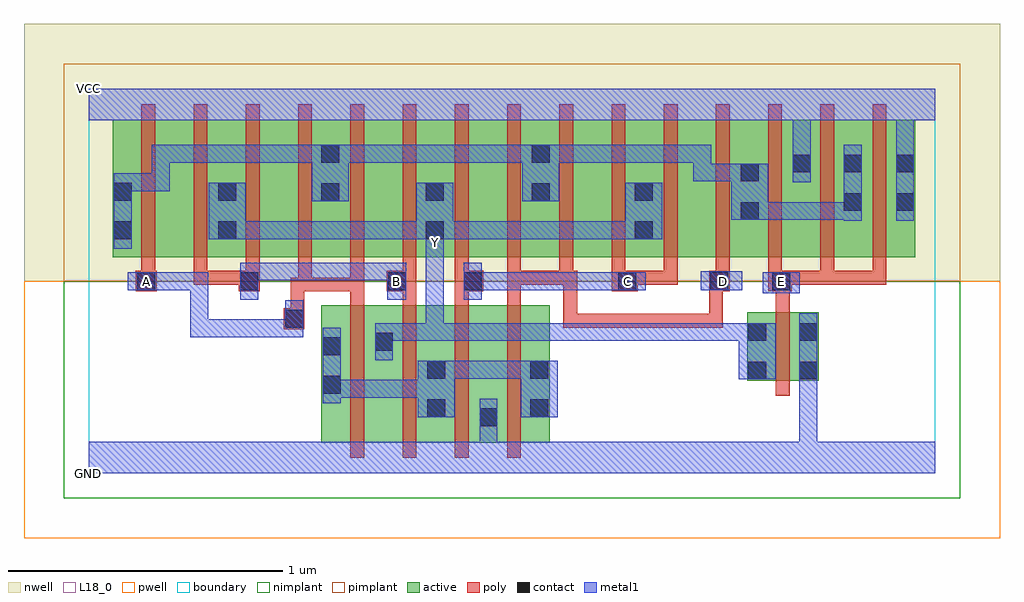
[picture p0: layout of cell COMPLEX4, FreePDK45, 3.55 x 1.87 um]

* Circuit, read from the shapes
.subckt COMPLEX4 A B C D E GND VCC Y
M1 Y A n1 VSUBS nfet w=0.5u l=0.05u
M2 n1 B Y VSUBS nfet w=0.5u l=0.05u
M3 GND C n1 VSUBS nfet w=0.5u l=0.05u
M4 n1 D GND VSUBS nfet w=0.5u l=0.05u
M5 GND E Y VSUBS nfet w=0.25u l=0.05u
M6 n2 A n3 n4 pfet w=0.5u l=0.05u
M7 Y B n2 n4 pfet w=0.5u l=0.05u
M8 n5 B Y n4 pfet w=0.5u l=0.05u
M9 n3 A n5 n4 pfet w=0.5u l=0.05u
M10 n6 A n3 n4 pfet w=0.5u l=0.05u
M11 Y B n6 n4 pfet w=0.5u l=0.05u
M12 n7 C Y n4 pfet w=0.5u l=0.05u
M13 n3 D n7 n4 pfet w=0.5u l=0.05u
M14 n8 D n3 n4 pfet w=0.5u l=0.05u
M15 Y C n8 n4 pfet w=0.5u l=0.05u
M16 n9 C Y n4 pfet w=0.5u l=0.05u
M17 n3 D n9 n4 pfet w=0.5u l=0.05u
M18 VCC E n3 n4 pfet w=0.5u l=0.05u m=3
.ends

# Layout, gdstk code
import gdstk
lib = gdstk.Library(unit=1e-6, precision=1e-09)
def R(c, l, rs):  # rectangles x0, y0, x1, y1
    for r in rs: c.add(gdstk.rectangle(r[:2], r[2:], *l))
def A(c, l, x, y, w, h, nx, ny, dx, dy):  # array of equal rectangles
    R(c, l, [(x+i*dx, y+j*dy, x+i*dx+w, y+j*dy+h) for i in range(nx) for j in range(ny)])
active = (1, 0)
pwell = (2, 0)
nwell = (3, 0)
nimplant = (4, 0)
pimplant = (5, 0)
poly = (9, 0)
contact = (10, 0)
metal1 = (11, 0)
L18_0 = (18, 0)
boundary = (235, 0)

complex4 = lib.new_cell('COMPLEX4')
A(complex4, active, 0.847, 0.112, 0.265, 0.5, 3, 1, 0.19, 0)
R(complex4, active, [(1.417,0.112,1.677,0.612), (0.847,0.145,0.922,0.612), (1.037,0.145,1.112,0.592), (1.227,0.145,1.302,0.592), (1.417,0.145,1.492,0.55), (1.602,0.145,1.677,0.612), (2.395,0.337,2.47,0.587), (2.395,0.337,2.655,0.587), (2.58,0.337,2.655,0.587), (0.087,0.787,0.312,1.287), (0.087,0.787,0.192,1.2), (0.312,0.787,0.542,1.287), (0.467,0.787,0.692,1.287), (0.692,0.787,0.917,1.287), (0.842,0.787,1.072,1.287), (1.072,0.787,1.297,1.287), (1.222,0.787,1.452,1.287), (1.452,0.787,1.682,1.287), (1.607,0.787,1.832,1.287), (1.832,0.787,2.057,1.287), (1.982,0.787,2.212,1.287), (2.212,0.787,2.442,1.287), (2.367,0.787,2.632,1.287), (2.557,0.787,2.817,1.287), (2.742,0.787,3.007,1.287), (2.932,0.787,3.007,1.255), (0.467,0.807,0.542,1.07), (0.842,0.807,0.917,1.2), (1.222,0.807,1.297,1.07), (1.607,0.807,1.682,1.2), (1.982,0.807,2.057,1.07), (2.367,0.807,2.442,1.2), (2.557,0.807,2.632,1.255), (2.742,0.807,2.817,1.2)])
R(complex4, pwell, [(-0.235,-0.235,3.315,0.7)])
R(complex4, nwell, [(-0.235,0.7,3.315,1.635)])
R(complex4, nimplant, [(-0.09,-0.09,3.17,0.7)])
R(complex4, pimplant, [(-0.09,0.7,3.17,1.49)])
A(complex4, poly, 0.952, 0.057, 0.05, 0.61, 4, 1, 0.19, 0)
A(complex4, poly, 0.952, 0.617, 0.05, 0.095, 3, 1, 0.19, 0)
A(complex4, poly, 0.192, 0.687, 0.05, 0.095, 3, 1, 0.19, 0)
A(complex4, poly, 1.142, 0.687, 0.05, 0.095, 10, 1, 0.19, 0)
A(complex4, poly, 0.192, 0.732, 0.05, 0.61, 15, 1, 0.19, 0)
R(complex4, poly, [(2.5,0.282,2.55,0.642), (0.71,0.525,0.785,0.6), (1.727,0.53,1.777,0.58), (1.727,0.53,1.777,0.58), (1.727,0.53,1.777,0.58), (1.727,0.53,1.777,0.58), (1.727,0.53,1.777,0.58), (1.727,0.53,2.01,0.58), (1.727,0.53,1.777,0.737), (1.96,0.53,2.01,0.58), (1.96,0.53,2.01,0.58), (1.96,0.53,2.01,0.58), (1.96,0.53,2.175,0.58), (2.125,0.53,2.175,0.58), (2.125,0.53,2.307,0.58), (2.257,0.53,2.307,0.58), (2.257,0.53,2.307,0.58), (2.257,0.53,2.307,0.58), (2.257,0.53,2.307,0.58), (2.257,0.53,2.307,0.58), (2.257,0.53,2.307,0.712), (0.735,0.55,0.785,0.712), (2.5,0.592,2.55,0.712), (1.522,0.617,1.572,0.737), (0.172,0.662,0.247,0.737), (0.547,0.662,0.622,0.737), (0.735,0.662,0.797,0.712), (0.747,0.662,0.797,0.712), (0.747,0.662,0.812,0.712), (0.762,0.662,1.002,0.712), (0.762,0.662,0.812,0.782), (0.952,0.662,1.002,0.712), (0.952,0.662,1.002,0.712), (0.952,0.662,1.002,0.712), (0.952,0.662,1.002,0.782), (1.085,0.662,1.192,0.737), (1.332,0.662,1.435,0.737), (1.902,0.662,1.997,0.737), (2.257,0.662,2.332,0.737), (2.472,0.662,2.557,0.737), (0.382,0.687,0.432,0.737), (0.382,0.687,0.597,0.737), (0.547,0.687,0.597,0.737), (0.547,0.687,0.597,0.737), (1.522,0.687,1.572,0.737), (1.522,0.687,1.572,0.737), (1.522,0.687,1.572,0.737), (1.522,0.687,1.762,0.737), (1.712,0.687,1.777,0.737), (1.947,0.687,1.997,0.737), (1.947,0.687,1.997,0.737), (1.947,0.687,2.142,0.737), (2.092,0.687,2.142,0.737), (2.507,0.687,2.557,0.737), (2.507,0.687,2.557,0.737), (2.507,0.687,2.712,0.737), (2.662,0.687,2.712,0.737), (2.662,0.687,2.902,0.737), (2.852,0.687,2.902,0.737), (2.852,0.687,2.902,0.737), (2.852,0.687,2.902,0.737)])
R(complex4, contact, [(1.422,0.172,1.487,0.237), (1.232,0.205,1.297,0.27), (1.607,0.205,1.672,0.27), (0.852,0.29,0.917,0.355), (2.4,0.342,2.465,0.407), (2.585,0.342,2.65,0.407), (1.232,0.345,1.297,0.41), (1.607,0.345,1.672,0.41), (0.852,0.43,0.917,0.495), (1.042,0.447,1.107,0.512), (2.4,0.482,2.465,0.547), (2.585,0.482,2.65,0.547), (0.715,0.53,0.78,0.595), (0.177,0.667,0.242,0.732), (0.552,0.667,0.617,0.732), (1.09,0.667,1.155,0.732), (1.365,0.667,1.43,0.732), (1.927,0.667,1.992,0.732), (2.262,0.667,2.327,0.732), (2.487,0.667,2.552,0.732), (0.092,0.852,0.157,0.917), (0.472,0.852,0.537,0.917), (1.227,0.852,1.292,0.917), (1.987,0.852,2.052,0.917), (2.372,0.922,2.437,0.987), (2.747,0.955,2.812,1.02), (2.937,0.955,3.002,1.02), (0.847,0.99,0.912,1.055), (1.612,0.99,1.677,1.055), (0.092,0.992,0.157,1.057), (0.472,0.992,0.537,1.057), (1.227,0.992,1.292,1.057), (1.987,0.992,2.052,1.057), (2.372,1.062,2.437,1.127), (2.562,1.095,2.627,1.16), (2.747,1.095,2.812,1.16), (2.937,1.095,3.002,1.16), (0.847,1.13,0.912,1.195), (1.612,1.13,1.677,1.195)])
A(complex4, metal1, 1.422, 0.482, 0.065, 0.065, 1, 3, 0, 0.185)
A(complex4, metal1, 1.715, 0.482, 0.065, 0.065, 1, 3, 0, 0.185)
R(complex4, metal1, [(0,0,3.08,0.115), (1.422,0.05,1.487,0.202), (2.585,0.05,2.65,0.115), (2.585,0.05,2.65,0.115), (2.585,0.05,2.65,0.372), (1.422,0.137,1.487,0.202), (1.422,0.137,1.487,0.202), (1.422,0.137,1.487,0.272), (1.197,0.205,1.332,0.41), (1.572,0.205,1.707,0.41), (0.852,0.255,0.917,0.53), (0.852,0.275,0.917,0.34), (0.852,0.275,0.917,0.34), (0.852,0.275,1.12,0.34), (1.055,0.275,1.12,0.34), (1.055,0.275,1.262,0.34), (1.197,0.275,1.262,0.34), (1.197,0.275,1.262,0.34), (2.585,0.307,2.65,0.582), (2.585,0.307,2.65,0.372), (2.585,0.307,2.65,0.372), (2.585,0.307,2.65,0.372), (2.585,0.307,2.65,0.372), (2.365,0.342,2.5,0.547), (1.267,0.345,1.487,0.41), (1.422,0.345,1.487,0.41), (1.422,0.345,1.487,0.41), (1.422,0.345,1.487,0.41), (1.422,0.345,1.637,0.41), (1.572,0.345,1.637,0.41), (1.572,0.345,1.637,0.41), (1.042,0.412,1.107,0.547), (1.042,0.482,1.292,0.547), (1.227,0.482,1.292,0.547), (1.227,0.482,1.292,0.547), (1.227,0.482,1.292,0.547), (1.227,0.482,1.487,0.547), (1.227,0.482,1.292,0.837), (1.422,0.482,1.487,0.547), (1.422,0.482,1.487,0.547), (1.422,0.482,1.625,0.547), (1.56,0.482,1.625,0.547), (1.56,0.482,1.625,0.547), (1.56,0.482,1.625,0.547), (1.56,0.482,1.78,0.547), (1.715,0.482,1.88,0.547), (1.815,0.482,1.88,0.547), (1.815,0.482,1.957,0.547), (1.892,0.482,1.957,0.547), (1.892,0.482,2.127,0.547), (2.062,0.482,2.127,0.547), (2.062,0.482,2.127,0.547), (2.062,0.482,2.127,0.547), (2.062,0.482,2.265,0.547), (2.2,0.482,2.265,0.547), (2.2,0.482,2.265,0.547), (2.2,0.482,2.265,0.547), (2.2,0.482,2.43,0.547), (0.37,0.495,0.435,0.56), (0.37,0.495,0.602,0.56), (0.37,0.495,0.435,0.732), (0.537,0.495,0.602,0.56), (0.537,0.495,0.74,0.56), (0.675,0.495,0.74,0.56), (0.675,0.495,0.74,0.56), (0.675,0.495,0.74,0.56), (0.675,0.495,0.78,0.56), (0.715,0.495,0.78,0.63), (0.552,0.632,0.617,0.767), (1.087,0.632,1.155,0.767), (1.365,0.632,1.43,0.767), (2.452,0.655,2.587,0.732), (0.142,0.667,0.277,0.732), (0.212,0.667,0.295,0.732), (0.23,0.667,0.295,0.732), (0.23,0.667,0.435,0.732), (0.37,0.667,0.435,0.732), (0.37,0.667,0.435,0.732), (0.37,0.667,0.435,0.732), (1.365,0.667,1.487,0.732), (1.422,0.667,1.642,0.732), (1.577,0.667,1.642,0.732), (1.577,0.667,1.642,0.732), (1.577,0.667,1.642,0.732), (1.577,0.667,1.78,0.732), (1.715,0.667,1.85,0.732), (1.785,0.667,1.85,0.732), (1.785,0.667,1.957,0.732), (1.892,0.667,2.027,0.732), (2.227,0.667,2.377,0.735), (0.552,0.702,0.74,0.767), (0.675,0.702,0.74,0.767), (0.675,0.702,0.755,0.767), (0.69,0.702,0.755,0.767), (0.69,0.702,0.917,0.767), (0.852,0.702,0.917,0.767), (0.852,0.702,0.917,0.767), (0.852,0.702,0.917,0.767), (0.852,0.702,1.107,0.767), (1.042,0.702,1.107,0.767), (1.042,0.702,1.152,0.767), (1.227,0.772,1.292,0.907), (0.092,0.817,0.157,1.092), (1.227,0.842,1.292,0.917), (0.437,0.852,0.572,1.057), (0.507,0.852,0.572,0.917), (0.507,0.852,0.572,0.917), (0.507,0.852,0.74,0.917), (0.675,0.852,0.74,0.917), (0.675,0.852,0.777,0.917), (0.712,0.852,0.777,0.917), (0.712,0.852,0.97,0.917), (0.905,0.852,0.97,0.917), (0.905,0.852,0.97,0.917), (0.905,0.852,0.97,0.917), (0.905,0.852,1.12,0.917), (1.055,0.852,1.12,0.917), (1.055,0.852,1.257,0.917), (1.192,0.852,1.257,0.917), (1.192,0.852,1.257,0.917), (1.192,0.852,1.327,1.057), (1.262,0.852,1.487,0.917), (1.422,0.852,1.487,0.917), (1.422,0.852,1.487,0.917), (1.422,0.852,1.642,0.917), (1.577,0.852,1.642,0.917), (1.577,0.852,1.642,0.917), (1.577,0.852,1.642,0.917), (1.577,0.852,1.78,0.917), (1.715,0.852,1.85,0.917), (1.785,0.852,1.85,0.917), (1.785,0.852,1.957,0.917), (1.892,0.852,1.957,0.917), (1.892,0.852,2.017,0.917), (1.952,0.852,2.087,1.057), (2.747,0.92,2.812,1.195), (2.937,0.92,3.002,1.195), (2.337,0.922,2.472,1.127), (2.407,0.922,2.472,0.987), (2.407,0.922,2.472,0.987), (2.407,0.922,2.675,0.987), (2.61,0.922,2.675,0.987), (2.61,0.922,2.812,0.987), (2.747,0.922,2.812,0.987), (2.747,0.922,2.812,0.987), (0.812,0.99,0.947,1.195), (1.577,0.99,1.712,1.195), (0.092,1.027,0.157,1.092), (0.092,1.027,0.157,1.092), (0.092,1.027,0.295,1.092), (0.23,1.027,0.295,1.092), (0.23,1.027,0.295,1.195), (2.562,1.06,2.627,1.195), (2.2,1.062,2.265,1.127), (2.2,1.062,2.265,1.127), (2.2,1.062,2.265,1.127), (2.2,1.062,2.402,1.127), (2.2,1.062,2.265,1.195), (0.23,1.13,0.295,1.195), (0.23,1.13,0.432,1.195), (0.367,1.13,0.432,1.195), (0.367,1.13,0.432,1.195), (0.367,1.13,0.432,1.195), (0.367,1.13,0.602,1.195), (0.537,1.13,0.602,1.195), (0.537,1.13,0.71,1.195), (0.645,1.13,0.71,1.195), (0.645,1.13,0.78,1.195), (0.715,1.13,0.78,1.195), (0.715,1.13,0.877,1.195), (0.882,1.13,0.947,1.195), (0.882,1.13,0.947,1.195), (0.882,1.13,1.12,1.195), (1.055,1.13,1.12,1.195), (1.055,1.13,1.12,1.195), (1.055,1.13,1.12,1.195), (1.055,1.13,1.35,1.195), (1.285,1.13,1.35,1.195), (1.285,1.13,1.487,1.195), (1.422,1.13,1.487,1.195), (1.422,1.13,1.487,1.195), (1.422,1.13,1.487,1.195), (1.422,1.13,1.642,1.195), (1.577,1.13,1.642,1.195), (1.577,1.13,1.642,1.195), (1.647,1.13,1.82,1.195), (1.755,1.13,1.82,1.195), (1.755,1.13,1.88,1.195), (1.815,1.13,1.88,1.195), (1.815,1.13,1.957,1.195), (1.892,1.13,1.957,1.195), (1.892,1.13,2.127,1.195), (2.062,1.13,2.127,1.195), (2.062,1.13,2.127,1.195), (2.062,1.13,2.127,1.195), (2.062,1.13,2.265,1.195), (2.2,1.13,2.265,1.195), (2.562,1.13,2.627,1.35), (2.937,1.13,3.002,1.35), (0,1.285,3.08,1.4)])
A(complex4, L18_0, 1.422, 0.482, 0.065, 0.065, 1, 3, 0, 0.185)
A(complex4, L18_0, 1.715, 0.482, 0.065, 0.065, 1, 3, 0, 0.185)
R(complex4, L18_0, [(0,0,3.08,0.115), (1.422,0.05,1.487,0.202), (2.585,0.05,2.65,0.115), (2.585,0.05,2.65,0.115), (2.585,0.05,2.65,0.372), (1.422,0.137,1.487,0.202), (1.422,0.137,1.487,0.202), (1.422,0.137,1.487,0.272), (2.585,0.307,2.65,0.372), (2.585,0.307,2.65,0.372), (2.585,0.307,2.65,0.372), (2.585,0.307,2.65,0.372), (2.585,0.307,2.65,0.582), (2.365,0.342,2.5,0.547), (1.042,0.412,1.107,0.547), (1.042,0.482,1.292,0.547), (1.227,0.482,1.292,0.547), (1.227,0.482,1.292,0.547), (1.227,0.482,1.292,0.547), (1.227,0.482,1.292,0.837), (1.227,0.482,1.487,0.547), (1.422,0.482,1.487,0.547), (1.422,0.482,1.487,0.547), (1.422,0.482,1.625,0.547), (1.56,0.482,1.625,0.547), (1.56,0.482,1.625,0.547), (1.56,0.482,1.625,0.547), (1.56,0.482,1.78,0.547), (1.715,0.482,1.88,0.547), (1.815,0.482,1.88,0.547), (1.815,0.482,1.957,0.547), (1.892,0.482,1.957,0.547), (1.892,0.482,2.127,0.547), (2.062,0.482,2.127,0.547), (2.062,0.482,2.127,0.547), (2.062,0.482,2.127,0.547), (2.062,0.482,2.265,0.547), (2.2,0.482,2.265,0.547), (2.2,0.482,2.265,0.547), (2.2,0.482,2.265,0.547), (2.2,0.482,2.43,0.547), (0.37,0.495,0.435,0.56), (0.37,0.495,0.435,0.732), (0.37,0.495,0.602,0.56), (0.537,0.495,0.602,0.56), (0.537,0.495,0.74,0.56), (0.675,0.495,0.74,0.56), (0.675,0.495,0.74,0.56), (0.675,0.495,0.74,0.56), (0.675,0.495,0.78,0.56), (0.715,0.495,0.78,0.63), (0.552,0.632,0.617,0.767), (1.087,0.632,1.155,0.767), (1.365,0.632,1.43,0.767), (2.452,0.655,2.587,0.732), (0.142,0.667,0.277,0.732), (0.177,0.667,0.242,0.732), (0.212,0.667,0.295,0.732), (0.23,0.667,0.295,0.732), (0.23,0.667,0.435,0.732), (0.37,0.667,0.435,0.732), (0.37,0.667,0.435,0.732), (0.37,0.667,0.435,0.732), (1.087,0.667,1.152,0.732), (1.365,0.667,1.487,0.732), (1.422,0.667,1.642,0.732), (1.577,0.667,1.642,0.732), (1.577,0.667,1.642,0.732), (1.577,0.667,1.642,0.732), (1.577,0.667,1.78,0.732), (1.715,0.667,1.85,0.732), (1.785,0.667,1.85,0.732), (1.785,0.667,1.957,0.732), (1.892,0.667,2.027,0.732), (1.927,0.667,1.992,0.732), (2.227,0.667,2.377,0.735), (2.277,0.667,2.342,0.732), (2.487,0.667,2.552,0.732), (0.552,0.702,0.74,0.767), (0.675,0.702,0.74,0.767), (0.675,0.702,0.755,0.767), (0.69,0.702,0.755,0.767), (0.69,0.702,0.917,0.767), (0.852,0.702,0.917,0.767), (0.852,0.702,0.917,0.767), (0.852,0.702,0.917,0.767), (0.852,0.702,1.107,0.767), (1.042,0.702,1.107,0.767), (1.042,0.702,1.152,0.767), (1.227,0.772,1.292,0.907), (1.227,0.807,1.292,0.872), (1.227,0.842,1.292,0.917), (0.437,0.852,0.572,1.057), (0.507,0.852,0.572,0.917), (0.507,0.852,0.572,0.917), (0.507,0.852,0.74,0.917), (0.675,0.852,0.74,0.917), (0.675,0.852,0.777,0.917), (0.712,0.852,0.777,0.917), (0.712,0.852,0.97,0.917), (0.905,0.852,0.97,0.917), (0.905,0.852,0.97,0.917), (0.905,0.852,0.97,0.917), (0.905,0.852,1.12,0.917), (1.055,0.852,1.12,0.917), (1.055,0.852,1.257,0.917), (1.192,0.852,1.257,0.917), (1.192,0.852,1.257,0.917), (1.192,0.852,1.327,1.057), (1.262,0.852,1.487,0.917), (1.422,0.852,1.487,0.917), (1.422,0.852,1.487,0.917), (1.422,0.852,1.642,0.917), (1.577,0.852,1.642,0.917), (1.577,0.852,1.642,0.917), (1.577,0.852,1.642,0.917), (1.577,0.852,1.78,0.917), (1.715,0.852,1.85,0.917), (1.785,0.852,1.85,0.917), (1.785,0.852,1.957,0.917), (1.892,0.852,1.957,0.917), (1.892,0.852,2.017,0.917), (1.952,0.852,2.087,1.057), (2.937,0.92,3.002,1.195), (2.562,1.06,2.627,1.195), (2.562,1.13,2.627,1.35), (2.937,1.13,3.002,1.35), (0,1.285,3.08,1.4)])
R(complex4, boundary, [(0,0,3.08,1.4)])
complex4.add(gdstk.Label('A', (0.21,0.7), layer=11, texttype=0))
complex4.add(gdstk.Label('B', (1.12,0.7), layer=11, texttype=0))
complex4.add(gdstk.Label('C', (1.96,0.7), layer=11, texttype=0))
complex4.add(gdstk.Label('D', (2.31,0.7), layer=11, texttype=0))
complex4.add(gdstk.Label('E', (2.52,0.7), layer=11, texttype=0))
complex4.add(gdstk.Label('Y', (1.26,0.84), layer=11, texttype=0))
complex4.add(gdstk.Label('VCC', (0,1.4), layer=11, texttype=0))
complex4.add(gdstk.Label('GND', (0,0), layer=11, texttype=0))

lib.write_gds('COMPLEX4.gds')
